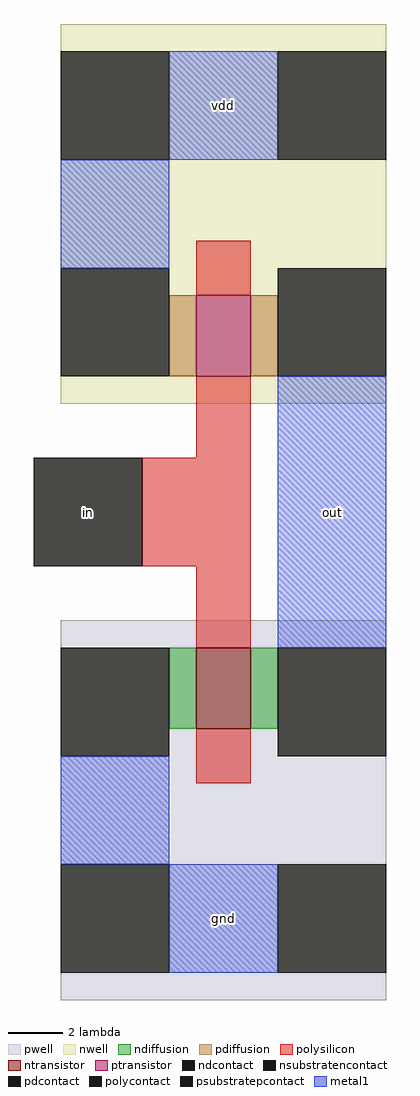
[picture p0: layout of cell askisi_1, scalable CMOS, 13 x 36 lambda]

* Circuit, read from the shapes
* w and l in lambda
.subckt askisi_1 gnd in out vdd
M1 out in gnd gnd nfet w=3 l=2
M2 out in vdd vdd pfet w=3 l=2
.ends

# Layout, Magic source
magic
tech scmos
<< pwell >>
rect 0 -23 12 -9
<< nwell >>
rect 0 -1 12 13
<< polysilicon >>
rect 5 3 7 5
rect 5 -3 7 0
rect 3 -7 7 -3
rect 5 -10 7 -7
rect 5 -15 7 -13
<< ndiffusion >>
rect 4 -13 5 -10
rect 7 -13 8 -10
<< pdiffusion >>
rect 4 0 5 3
rect 7 0 8 3
<< metal1 >>
rect 4 8 8 12
rect 0 4 4 8
rect 8 -10 12 0
rect 0 -18 4 -14
rect 4 -22 8 -18
<< ntransistor >>
rect 5 -13 7 -10
<< ptransistor >>
rect 5 0 7 3
<< polycontact >>
rect -1 -7 3 -3
<< ndcontact >>
rect 0 -14 4 -10
rect 8 -14 12 -10
<< pdcontact >>
rect 0 0 4 4
rect 8 0 12 4
<< psubstratepcontact >>
rect 0 -22 4 -18
rect 8 -22 12 -18
<< nsubstratencontact >>
rect 0 8 4 12
rect 8 8 12 12
<< labels >>
rlabel metal1 6 10 6 10 5 vdd
rlabel metal1 6 -20 6 -20 1 gnd
rlabel polycontact 1 -5 1 -5 3 in
rlabel metal1 10 -5 10 -5 7 out
<< end >>
